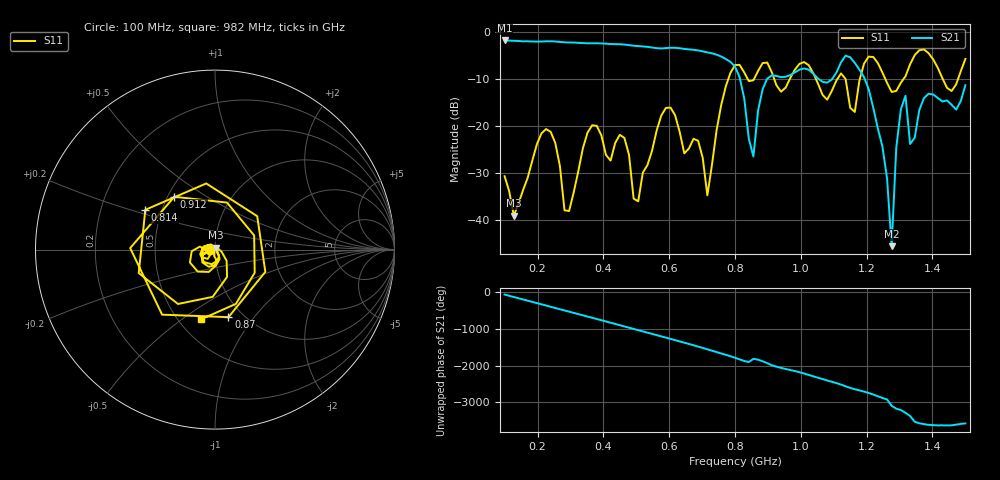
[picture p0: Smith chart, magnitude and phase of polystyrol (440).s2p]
! NanoVNA-App
! Date: 2025-09-25 15:33:19
! Start: 100MHz Stop: 1,5GHz Points: 101
! S-Parameter data: F S11 S21 S12 S22
# Hz S RI R 50
!  Frequency  S11_Real  S11_Imag  S21_Real  S21_Imag  S12_Real  S12_Imag  S22_Real  S22_Imag
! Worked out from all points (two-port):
!   101 points, 100 MHz to 1.5 GHz, reference 50 ohm
!   highest |S21| = -1.80 dB at 100 MHz (marker M1); lowest = -45.6 dB at 1.276 GHz (marker M2)
!   |S21| within 3 dB of the highest: start of sweep to 743.1 MHz
!   lowest |S11| = -39.1 dB at 128 MHz (marker M3), VSWR 1.02, Z = 50.3 + j1.06 ohm
!   |S11| at or under -10 dB: start of sweep to 779.7 MHz; 1.046 GHz to 1.111 GHz (65.45 MHz wide, 6.07 % of centre); 1.257 GHz to 1.312 GHz (55.38 MHz wide, 4.31 % of centre)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
!   S12 and S22 are empty: the file has one direction only
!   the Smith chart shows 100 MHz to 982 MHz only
!   S11 on the Smith chart (normalised r, x): 100 MHz: 0.94, -0.01; 814 MHz: 0.40, +0.22; 870 MHz: 0.85, -0.75; 912 MHz: 0.54, +0.37; 982 MHz: 0.64, -0.59
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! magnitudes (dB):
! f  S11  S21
! 100 MHz  -30.7  -1.8
! 128 MHz  -39.1  -1.9
! 212 MHz  -21.6  -2.0
! 282 MHz  -38.0  -2.2
! 338 MHz  -24.7  -2.4
! 464 MHz  -22.5  -2.7
! 506 MHz  -36.0  -3.0
! 576 MHz  -17.8  -3.5
! 716 MHz  -34.8  -4.3
! 800 MHz  -7.0  -7.4
! 814 MHz  -7.0  -9.6
! 856 MHz  -10.3  -26.5
! 870 MHz  -8.3  -16.8
! 912 MHz  -8.6  -9.2
! 982 MHz  -8.0  -8.6
! 1.038 GHz  -8.8  -8.9
! 1.192 GHz  -6.7  -9.6
! 1.276 GHz  -12.8  -45.6
! 1.29 GHz  -12.5  -24.6
! 1.318 GHz  -9.4  -13.6
! 1.332 GHz  -6.9  -23.8
! 1.5 GHz  -5.7  -11.3
